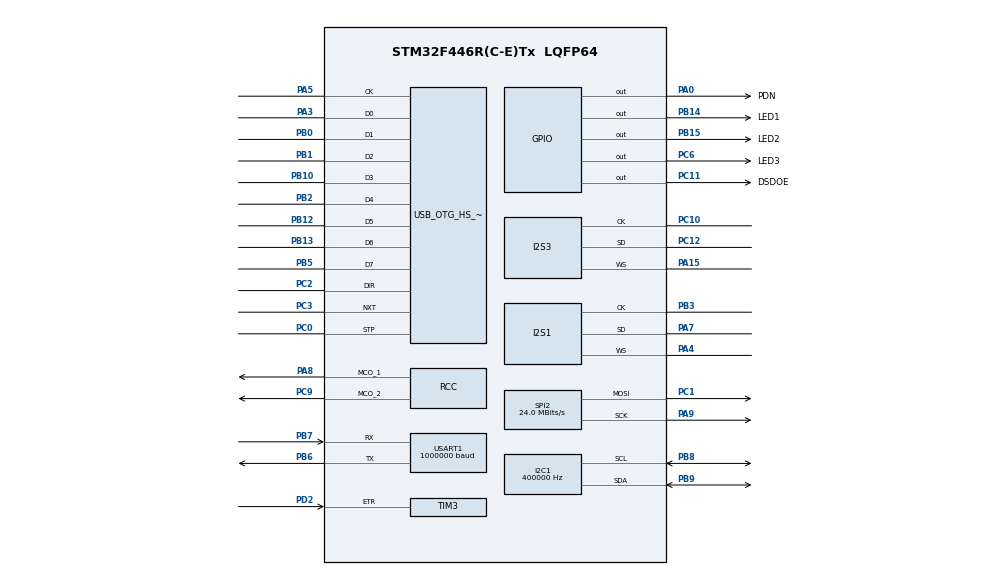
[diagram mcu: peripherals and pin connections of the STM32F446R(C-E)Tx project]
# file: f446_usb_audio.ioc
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Dma.MEMTOMEM.2.Direction=DMA_MEMORY_TO_MEMORY
Dma.MEMTOMEM.2.FIFOMode=DMA_FIFOMODE_ENABLE
Dma.MEMTOMEM.2.FIFOThreshold=DMA_FIFO_THRESHOLD_FULL
Dma.MEMTOMEM.2.Instance=DMA2_Stream0
Dma.MEMTOMEM.2.MemBurst=DMA_MBURST_SINGLE
Dma.MEMTOMEM.2.MemDataAlignment=DMA_MDATAALIGN_WORD
Dma.MEMTOMEM.2.MemInc=DMA_MINC_ENABLE
Dma.MEMTOMEM.2.Mode=DMA_NORMAL
Dma.MEMTOMEM.2.PeriphBurst=DMA_PBURST_SINGLE
Dma.MEMTOMEM.2.PeriphDataAlignment=DMA_PDATAALIGN_WORD
Dma.MEMTOMEM.2.PeriphInc=DMA_PINC_ENABLE
Dma.MEMTOMEM.2.Priority=DMA_PRIORITY_LOW
Dma.MEMTOMEM.3.Direction=DMA_MEMORY_TO_MEMORY
Dma.MEMTOMEM.3.FIFOMode=DMA_FIFOMODE_ENABLE
Dma.MEMTOMEM.3.FIFOThreshold=DMA_FIFO_THRESHOLD_FULL
Dma.MEMTOMEM.3.Instance=DMA2_Stream1
Dma.MEMTOMEM.3.MemBurst=DMA_MBURST_SINGLE
Dma.MEMTOMEM.3.MemDataAlignment=DMA_MDATAALIGN_WORD
Dma.MEMTOMEM.3.MemInc=DMA_MINC_ENABLE
Dma.MEMTOMEM.3.Mode=DMA_NORMAL
Dma.MEMTOMEM.3.PeriphBurst=DMA_PBURST_SINGLE
Dma.MEMTOMEM.3.PeriphDataAlignment=DMA_PDATAALIGN_WORD
Dma.MEMTOMEM.3.PeriphInc=DMA_PINC_DISABLE
Dma.MEMTOMEM.3.Priority=DMA_PRIORITY_LOW
Dma.Request0=SPI3_TX
Dma.Request1=SPI1_TX
Dma.Request2=MEMTOMEM
Dma.Request3=MEMTOMEM
Dma.SPI1_TX.1.Direction=DMA_MEMORY_TO_PERIPH
Dma.SPI1_TX.1.FIFOMode=DMA_FIFOMODE_ENABLE
Dma.SPI1_TX.1.FIFOThreshold=DMA_FIFO_THRESHOLD_FULL
Dma.SPI1_TX.1.Instance=DMA2_Stream3
Dma.SPI1_TX.1.MemBurst=DMA_MBURST_INC4
Dma.SPI1_TX.1.MemDataAlignment=DMA_MDATAALIGN_WORD
Dma.SPI1_TX.1.MemInc=DMA_MINC_ENABLE
Dma.SPI1_TX.1.Mode=DMA_CIRCULAR
Dma.SPI1_TX.1.PeriphBurst=DMA_PBURST_SINGLE
Dma.SPI1_TX.1.PeriphDataAlignment=DMA_PDATAALIGN_HALFWORD
Dma.SPI1_TX.1.PeriphInc=DMA_PINC_DISABLE
Dma.SPI1_TX.1.Priority=DMA_PRIORITY_LOW
Dma.SPI3_TX.0.Direction=DMA_MEMORY_TO_PERIPH
Dma.SPI3_TX.0.FIFOMode=DMA_FIFOMODE_ENABLE
Dma.SPI3_TX.0.FIFOThreshold=DMA_FIFO_THRESHOLD_FULL
Dma.SPI3_TX.0.Instance=DMA1_Stream5
Dma.SPI3_TX.0.MemBurst=DMA_MBURST_INC4
Dma.SPI3_TX.0.MemDataAlignment=DMA_MDATAALIGN_WORD
Dma.SPI3_TX.0.MemInc=DMA_MINC_ENABLE
Dma.SPI3_TX.0.Mode=DMA_CIRCULAR
Dma.SPI3_TX.0.PeriphBurst=DMA_PBURST_SINGLE
Dma.SPI3_TX.0.PeriphDataAlignment=DMA_PDATAALIGN_HALFWORD
Dma.SPI3_TX.0.PeriphInc=DMA_PINC_DISABLE
Dma.SPI3_TX.0.Priority=DMA_PRIORITY_HIGH
FREERTOS.Tasks01=defaultTask,24,128,StartDefaultTask,Default,NULL,Dynamic,NULL,NULL
I2C1.ClockSpeed=400000
I2C1.I2C_Mode=I2C_Fast
I2S1.AudioFreq=I2S_AUDIOFREQ_48K
I2S1.DataFormat=I2S_DATAFORMAT_32B
I2S1.ErrorAudioFreq=0.0 %
I2S1.FullDuplexMode=I2S_FULLDUPLEXMODE_DISABLE
I2S1.Instance=SPI$Index
I2S1.RealAudioFreq=48.0 KHz
I2S1.VirtualMode=I2S_MODE_SLAVE
I2S3.AudioFreq=I2S_AUDIOFREQ_48K
I2S3.CPOL=I2S_CPOL_LOW
I2S3.DataFormat=I2S_DATAFORMAT_32B
I2S3.ErrorAudioFreq=0.0 %
I2S3.FullDuplexMode=I2S_FULLDUPLEXMODE_DISABLE
I2S3.Instance=SPI$Index
I2S3.RealAudioFreq=48.0 KHz
I2S3.Standard=I2S_STANDARD_PHILIPS
I2S3.VirtualMode=I2S_MODE_MASTER
Mcu.Family=STM32F4
Mcu.Name=STM32F446R(C-E)Tx
Mcu.Package=LQFP64
NVIC.DMA1_Stream5_IRQn=true\:6\:0\:true\:false\:true\:true\:false\:true\:true
NVIC.DMA2_Stream0_IRQn=true\:6\:0\:true\:false\:true\:true\:true\:true\:true
NVIC.DMA2_Stream3_IRQn=true\:6\:0\:true\:false\:true\:true\:false\:true\:true
NVIC.I2C1_EV_IRQn=true\:6\:0\:true\:false\:true\:true\:true\:true\:true
NVIC.OTG_HS_IRQn=true\:6\:0\:true\:false\:true\:true\:true\:true\:true
NVIC.PVD_IRQn=true\:0\:0\:true\:false\:true\:false\:true\:false\:true
NVIC.PriorityGroup=NVIC_PRIORITYGROUP_4
NVIC.TIM3_IRQn=true\:6\:0\:true\:false\:true\:true\:true\:true\:true
NVIC.TIM7_IRQn=true\:0\:0\:true\:false\:true\:false\:false\:true\:true
NVIC.TimeBase=TIM7_IRQn
NVIC.TimeBaseIP=TIM7
PA0-WKUP.GPIO_Label=PDN
PA0-WKUP.GPIO_PuPd=GPIO_PULLDOWN
PA0-WKUP.GPIO_Speed=GPIO_SPEED_FREQ_HIGH
PA0-WKUP.PinState=GPIO_PIN_RESET
PA0-WKUP.Signal=GPIO_Output
PA13.Mode=Serial_Wire
PA13.Signal=SYS_JTMS-SWDIO
PA14.Mode=Serial_Wire
PA14.Signal=SYS_JTCK-SWCLK
PA15.GPIO_PuPd=GPIO_PULLDOWN
PA15.GPIO_Speed=GPIO_SPEED_FREQ_VERY_HIGH
PA15.Mode=Half_Duplex_Master
PA15.Signal=I2S3_WS
PA3.Mode=Device_HS
PA3.Signal=USB_OTG_HS_ULPI_D0
PA4.GPIO_PuPd=GPIO_PULLDOWN
PA4.GPIO_Speed=GPIO_SPEED_FREQ_VERY_HIGH
PA4.Mode=Half_Duplex_Slave
PA4.Signal=I2S1_WS
PA5.Mode=Device_HS
PA5.Signal=USB_OTG_HS_ULPI_CK
PA7.GPIO_PuPd=GPIO_PULLDOWN
PA7.GPIO_Speed=GPIO_SPEED_FREQ_VERY_HIGH
PA7.Mode=Half_Duplex_Slave
PA7.Signal=I2S1_SD
PA8.GPIO_Speed=GPIO_SPEED_FREQ_VERY_HIGH
PA8.Mode=Clock-out-1
PA8.Signal=RCC_MCO_1
PA9.Mode=TX_Only_Simplex_Unidirect_Master
PA9.Signal=SPI2_SCK
PB0.Mode=Device_HS
PB0.Signal=USB_OTG_HS_ULPI_D1
PB1.Mode=Device_HS
PB1.Signal=USB_OTG_HS_ULPI_D2
PB10.Mode=Device_HS
PB10.Signal=USB_OTG_HS_ULPI_D3
PB12.Mode=Device_HS
PB12.Signal=USB_OTG_HS_ULPI_D5
PB13.Mode=Device_HS
PB13.Signal=USB_OTG_HS_ULPI_D6
PB14.GPIO_Label=LED1
PB14.PinState=GPIO_PIN_SET
PB14.Signal=GPIO_Output
PB15.GPIO_Label=LED2
PB15.PinState=GPIO_PIN_SET
PB15.Signal=GPIO_Output
PB2.Mode=Device_HS
PB2.Signal=USB_OTG_HS_ULPI_D4
PB3.GPIO_PuPd=GPIO_PULLDOWN
PB3.GPIO_Speed=GPIO_SPEED_FREQ_VERY_HIGH
PB3.Mode=Half_Duplex_Slave
PB3.Signal=I2S1_CK
PB5.Mode=Device_HS
PB5.Signal=USB_OTG_HS_ULPI_D7
PB6.Mode=Asynchronous
PB6.Signal=USART1_TX
PB7.Mode=Asynchronous
PB7.Signal=USART1_RX
PB8.Mode=I2C
PB8.Signal=I2C1_SCL
PB9.Mode=I2C
PB9.Signal=I2C1_SDA
PC0.Mode=Device_HS
PC0.Signal=USB_OTG_HS_ULPI_STP
PC1.Mode=TX_Only_Simplex_Unidirect_Master
PC1.Signal=SPI2_MOSI
PC10.GPIO_PuPd=GPIO_PULLDOWN
PC10.GPIO_Speed=GPIO_SPEED_FREQ_VERY_HIGH
PC10.Mode=Half_Duplex_Master
PC10.Signal=I2S3_CK
PC11.GPIO_Label=DSDOE
PC11.GPIO_PuPd=GPIO_NOPULL
PC11.PinState=GPIO_PIN_RESET
PC11.Signal=GPIO_Output
PC12.GPIO_PuPd=GPIO_PULLDOWN
PC12.GPIO_Speed=GPIO_SPEED_FREQ_VERY_HIGH
PC12.Mode=Half_Duplex_Master
PC12.Signal=I2S3_SD
PC2.Mode=Device_HS
PC2.Signal=USB_OTG_HS_ULPI_DIR
PC3.Mode=Device_HS
PC3.Signal=USB_OTG_HS_ULPI_NXT
PC6.GPIO_Label=LED3
PC6.PinState=GPIO_PIN_SET
PC6.Signal=GPIO_Output
PC9.GPIO_Speed=GPIO_SPEED_FREQ_VERY_HIGH
PC9.Mode=Clock-out-2
PC9.Signal=RCC_MCO_2
PD2.Signal=S_TIM3_ETR
PH0-OSC_IN.Mode=HSE-External-Clock-Source
PH0-OSC_IN.Signal=RCC_OSC_IN
PH1-OSC_OUT.Mode=HSE-External-Clock-Source
PH1-OSC_OUT.Signal=RCC_OSC_OUT
ProjectManager.HeapSize=0x400
ProjectManager.StackSize=0x800
ProjectManager.TargetToolchain=MDK-ARM V5.32
RCC.AHBFreq_Value=192000000
RCC.APB1CLKDivider=RCC_HCLK_DIV4
RCC.APB1Freq_Value=48000000
RCC.APB1TimFreq_Value=96000000
RCC.APB2CLKDivider=RCC_HCLK_DIV2
RCC.APB2Freq_Value=96000000
RCC.APB2TimFreq_Value=192000000
RCC.CortexFreq_Value=192000000
RCC.EXTERNAL_CLOCK_VALUE=49152000
RCC.HCLKFreq_Value=192000000
RCC.HSE_Timout=100
RCC.HSE_VALUE=24576000
RCC.PLLI2SN=128
RCC.PLLN=250
RCC.PLLP=RCC_PLLP_DIV4
RCC.PLLSAIM=24
RCC.PLLSourceVirtual=RCC_PLLSOURCE_HSE
RCC.PWREXT_OverDrive=PWREXT_OverDrive_ACTIVATED
RCC.PWR_Regulator_Voltage_Scale=PWR_REGULATOR_VOLTAGE_SCALE1
RCC.RCC_MCO1Source=RCC_MCO1SOURCE_PLLCLK
RCC.RCC_MCO2Source=RCC_MCO2SOURCE_PLLI2SCLK
RCC.RCC_MCODiv1=RCC_MCODIV_4
RCC.RCC_MCODiv2=RCC_MCODIV_4
RCC.SYSCLKFreq_VALUE=192000000
RCC.SYSCLKSource=RCC_SYSCLKSOURCE_PLLRCLK
RCC.USBFreq_Value=192000000
RCC.VCOOutputFreq_Value=384000000
SH.S_TIM3_ETR.0=TIM3_ETR,TriggerSource_ETR
SPI2.BaudRatePrescaler=SPI_BAUDRATEPRESCALER_2
SPI2.CalculateBaudRate=24.0 MBits/s
SPI2.Direction=SPI_DIRECTION_2LINES
SPI2.Mode=SPI_MODE_MASTER
SPI2.VirtualType=VM_MASTER
TIM3.Period=511
USART1.BaudRate=1000000
USART1.VirtualMode=VM_ASYNC
USB_OTG_HS.Sof_enable-Device_HS=DISABLE
USB_OTG_HS.VirtualMode-Device_HS=Device_HS
USB_OTG_HS.dma_enable-Device_HS=ENABLE
USB_OTG_HS.lpm_enable-Device_HS=DISABLE
USB_OTG_HS.use_dedicated_ep1-Device_HS=DISABLE
VP_FREERTOS_VS_CMSIS_V2.Mode=CMSIS_V2
VP_SYS_VS_tim7.Mode=TIM7
VP_TIM3_VS_ControllerModeClock.Mode=Clock Mode
board=custom

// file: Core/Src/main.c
/* USER CODE BEGIN Header */
/**
  ******************************************************************************
  * @file           : main.c
  * @brief          : Main program body
  ******************************************************************************
  * @attention
  *
  * Copyright (c) 2023 STMicroelectronics.
  * All rights reserved.
  *
  * This software is licensed under terms that can be found in the LICENSE file
  * in the root directory of this software component.
  * If no LICENSE file comes with this software, it is provided AS-IS.
  *
  ******************************************************************************
  */
/* USER CODE END Header */
#include "main.h"
#include "cmsis_os.h"

/* USER CODE BEGIN Includes */
#include "usb_device.h"
#include "usbd_audio_if.h"
#include "ak4490r.h"
#include "stdarg.h"
#include "audio_buffer.h"
/* USER CODE END Includes */

/* USER CODE BEGIN PM */
#define AT24C02_ADDR    0xA0
/* USER CODE END PM */

I2C_HandleTypeDef hi2c1;

I2S_HandleTypeDef hi2s1;
I2S_HandleTypeDef hi2s3;
DMA_HandleTypeDef hdma_spi1_tx;
DMA_HandleTypeDef hdma_spi3_tx;

SPI_HandleTypeDef hspi2;

UART_HandleTypeDef huart1;

PCD_HandleTypeDef hpcd_USB_OTG_HS;

DMA_HandleTypeDef hdma_memtomem_dma2_stream0;
DMA_HandleTypeDef hdma_memtomem_dma2_stream1;
/* Definitions for defaultTask */
osThreadId_t defaultTaskHandle;
const osThreadAttr_t defaultTask_attributes = {
  .name = "defaultTask",
  .stack_size = 128 * 4,
  .priority = (osPriority_t) osPriorityNormal,
};

void SystemClock_Config(void);
void PeriphCommonClock_Config(void);
static void MX_GPIO_Init(void);
static void MX_DMA_Init(void);
static void MX_I2C1_Init(void);
static void MX_I2S1_Init(void);
static void MX_I2S3_Init(void);
static void MX_TIM3_Init(void);
static void MX_USB_OTG_HS_PCD_Init(void);
static void MX_SPI2_Init(void);
static void MX_USART1_UART_Init(void);
void StartDefaultTask(void *argument);

/* USER CODE BEGIN 0 */

extern AUDIO_CodecTypeDef ak4490r_instance;

void printf1(const char* format, ...) {
    uint8_t txbuff[128];
    va_list listdata;
    va_start(listdata, format);
    vsprintf((char*)txbuff, format, listdata);
    va_end(listdata);
    HAL_UART_Transmit(&huart1, txbuff, strlen((char*)txbuff), strlen((char*)txbuff));
}

void PVD_Init(void)
{
    PWR_PVDTypeDef PvdStruct;

    HAL_PWR_EnablePVD();

    PvdStruct.PVDLevel = PWR_PVDLEVEL_6;
    PvdStruct.Mode = PWR_PVD_MODE_IT_RISING;
    HAL_PWR_ConfigPVD(&PvdStruct);

    HAL_NVIC_SetPriority(PVD_IRQn, 0, 0);
    HAL_NVIC_EnableIRQ(PVD_IRQn);
}

/* USER CODE END 0 */

int main(void)
{

  /* MCU Configuration--------------------------------------------------------*/

  /* Reset of all peripherals, Initializes the Flash interface and the Systick. */
  HAL_Init();

  /* Configure the system clock */
  SystemClock_Config();

/* Configure the peripherals common clocks */
  PeriphCommonClock_Config();

  /* Initialize all configured peripherals */
  MX_GPIO_Init();
  MX_DMA_Init();
  MX_I2C1_Init();
  MX_I2S1_Init();
  MX_I2S3_Init();
  MX_TIM3_Init();
  MX_USB_OTG_HS_PCD_Init();
  MX_SPI2_Init();
  MX_USART1_UART_Init();
  /* USER CODE BEGIN 2 */
          // for (int i = 0; i < 256; i++) {
          //     u8 data = i;
          //     HAL_I2C_Mem_Write(&hi2c1, AT24C02_ADDR + 1, data, I2C_MEMADD_SIZE_8BIT, &data, sizeof(u8), 1000);
          //     HAL_Delay(2);
          // }

          // for (int i = 0; i < 256; i++) {
          //     static u8 data;
          //     HAL_I2C_Mem_Read(&hi2c1, AT24C02_ADDR, i, I2C_MEMADD_SIZE_8BIT, &data, sizeof(u8), 1000);
          //     printf1("addr=%#x, data=%#x\r\n", i, data);
          //     HAL_Delay(2);
          // }
    PVD_Init();
    ak4490r_instance.Init();

    LL_GPIO_ResetOutputPin(PDN_GPIO_Port, PDN_Pin);
    HAL_Delay(50);
    LL_GPIO_SetOutputPin(PDN_GPIO_Port, PDN_Pin);
    HAL_Delay(50);

    LL_GPIO_ResetOutputPin(LED1_GPIO_Port, LED1_Pin);

    // For LRCK counting for feedback
    LL_TIM_EnableIT_UPDATE(TIM3);
    LL_TIM_EnableCounter(TIM3);

  /* USER CODE END 2 */

  /* Init scheduler */
  osKernelInitialize();

  /* Create the thread(s) */
  /* creation of defaultTask */
  defaultTaskHandle = osThreadNew(StartDefaultTask, NULL, &defaultTask_attributes);

  /* Start scheduler */
  osKernelStart();

  /* We should never get here as control is now taken by the scheduler */
  /* Infinite loop */
  /* USER CODE BEGIN WHILE */
    while (1)
    {
//        AK4490R_ProcessEvents();

    /* USER CODE END WHILE */

    }
}

void SystemClock_Config(void)
{
  LL_FLASH_SetLatency(LL_FLASH_LATENCY_5);
  while(LL_FLASH_GetLatency()!= LL_FLASH_LATENCY_5)
  {
  }
  LL_PWR_SetRegulVoltageScaling(LL_PWR_REGU_VOLTAGE_SCALE1);
  LL_PWR_EnableOverDriveMode();
  LL_RCC_HSE_EnableBypass();
  LL_RCC_HSE_Enable();

   /* Wait till HSE is ready */
  while(LL_RCC_HSE_IsReady() != 1)
  {

  }
  LL_RCC_PLL_ConfigDomain_SYS(LL_RCC_PLLSOURCE_HSE, LL_RCC_PLLM_DIV_16, 250, LL_RCC_PLLP_DIV_4);
  LL_RCC_PLL_ConfigDomain_SYS(LL_RCC_PLLSOURCE_HSE, LL_RCC_PLLM_DIV_16, 250, LL_RCC_PLLR_DIV_2);
  LL_RCC_PLL_Enable();

   /* Wait till PLL is ready */
  while(LL_RCC_PLL_IsReady() != 1)
  {

  }
  while (LL_PWR_IsActiveFlag_VOS() == 0)
  {
  }
  LL_RCC_SetAHBPrescaler(LL_RCC_SYSCLK_DIV_1);
  LL_RCC_SetAPB1Prescaler(LL_RCC_APB1_DIV_4);
  LL_RCC_SetAPB2Prescaler(LL_RCC_APB2_DIV_2);
  LL_RCC_SetSysClkSource(LL_RCC_SYS_CLKSOURCE_PLLR);

   /* Wait till System clock is ready */
  while(LL_RCC_GetSysClkSource() != LL_RCC_SYS_CLKSOURCE_STATUS_PLLR)
  {

  }
  LL_SetSystemCoreClock(192000000);

   /* Update the time base */
  if (HAL_InitTick (TICK_INT_PRIORITY) != HAL_OK)
  {
    Error_Handler();
  }
  LL_RCC_ConfigMCO(LL_RCC_MCO1SOURCE_PLLCLK, LL_RCC_MCO1_DIV_4);
  LL_RCC_ConfigMCO(LL_RCC_MCO2SOURCE_PLLI2S, LL_RCC_MCO2_DIV_4);
  LL_RCC_SetTIMPrescaler(LL_RCC_TIM_PRESCALER_TWICE);
}

void PeriphCommonClock_Config(void)
{
  LL_RCC_PLLI2S_ConfigDomain_I2S(LL_RCC_PLLSOURCE_HSE, LL_RCC_PLLI2SM_DIV_16, 128, LL_RCC_PLLI2SR_DIV_2);
  LL_RCC_PLLI2S_Enable();

   /* Wait till PLL is ready */
  while(LL_RCC_PLLI2S_IsReady() != 1)
  {

  }
}

static void MX_I2C1_Init(void)
{

  hi2c1.Instance = I2C1;
  hi2c1.Init.ClockSpeed = 400000;
  hi2c1.Init.DutyCycle = I2C_DUTYCYCLE_2;
  hi2c1.Init.OwnAddress1 = 0;
  hi2c1.Init.AddressingMode = I2C_ADDRESSINGMODE_7BIT;
  hi2c1.Init.DualAddressMode = I2C_DUALADDRESS_DISABLE;
  hi2c1.Init.OwnAddress2 = 0;
  hi2c1.Init.GeneralCallMode = I2C_GENERALCALL_DISABLE;
  hi2c1.Init.NoStretchMode = I2C_NOSTRETCH_DISABLE;
  if (HAL_I2C_Init(&hi2c1) != HAL_OK)
  {
    Error_Handler();
  }

}

static void MX_I2S1_Init(void)
{

  hi2s1.Instance = SPI1;
  hi2s1.Init.Mode = I2S_MODE_SLAVE_TX;
  hi2s1.Init.Standard = I2S_STANDARD_PHILIPS;
  hi2s1.Init.DataFormat = I2S_DATAFORMAT_32B;
  hi2s1.Init.MCLKOutput = I2S_MCLKOUTPUT_DISABLE;
  hi2s1.Init.AudioFreq = I2S_AUDIOFREQ_48K;
  hi2s1.Init.CPOL = I2S_CPOL_LOW;
  hi2s1.Init.ClockSource = I2S_CLOCK_PLL;
  hi2s1.Init.FullDuplexMode = I2S_FULLDUPLEXMODE_DISABLE;
  if (HAL_I2S_Init(&hi2s1) != HAL_OK)
  {
    Error_Handler();
  }

}

static void MX_I2S3_Init(void)
{

  hi2s3.Instance = SPI3;
  hi2s3.Init.Mode = I2S_MODE_MASTER_TX;
  hi2s3.Init.Standard = I2S_STANDARD_PHILIPS;
  hi2s3.Init.DataFormat = I2S_DATAFORMAT_32B;
  hi2s3.Init.MCLKOutput = I2S_MCLKOUTPUT_DISABLE;
  hi2s3.Init.AudioFreq = I2S_AUDIOFREQ_48K;
  hi2s3.Init.CPOL = I2S_CPOL_LOW;
  hi2s3.Init.ClockSource = I2S_CLOCK_PLL;
  hi2s3.Init.FullDuplexMode = I2S_FULLDUPLEXMODE_DISABLE;
  if (HAL_I2S_Init(&hi2s3) != HAL_OK)
  {
    Error_Handler();
  }

}

static void MX_SPI2_Init(void)
{

  /* SPI2 parameter configuration*/
  hspi2.Instance = SPI2;
  hspi2.Init.Mode = SPI_MODE_MASTER;
  hspi2.Init.Direction = SPI_DIRECTION_2LINES;
  hspi2.Init.DataSize = SPI_DATASIZE_8BIT;
  hspi2.Init.CLKPolarity = SPI_POLARITY_LOW;
  hspi2.Init.CLKPhase = SPI_PHASE_1EDGE;
  hspi2.Init.NSS = SPI_NSS_SOFT;
  hspi2.Init.BaudRatePrescaler = SPI_BAUDRATEPRESCALER_2;
  hspi2.Init.FirstBit = SPI_FIRSTBIT_MSB;
  hspi2.Init.TIMode = SPI_TIMODE_DISABLE;
  hspi2.Init.CRCCalculation = SPI_CRCCALCULATION_DISABLE;
  hspi2.Init.CRCPolynomial = 10;
  if (HAL_SPI_Init(&hspi2) != HAL_OK)
  {
    Error_Handler();
  }

}

static void MX_TIM3_Init(void)
{

  LL_TIM_InitTypeDef TIM_InitStruct = {0};

  LL_GPIO_InitTypeDef GPIO_InitStruct = {0};

  /* Peripheral clock enable */
  LL_APB1_GRP1_EnableClock(LL_APB1_GRP1_PERIPH_TIM3);

  LL_AHB1_GRP1_EnableClock(LL_AHB1_GRP1_PERIPH_GPIOD);
  /**TIM3 GPIO Configuration
  PD2   ------> TIM3_ETR
  */
  GPIO_InitStruct.Pin = LL_GPIO_PIN_2;
  GPIO_InitStruct.Mode = LL_GPIO_MODE_ALTERNATE;
  GPIO_InitStruct.Speed = LL_GPIO_SPEED_FREQ_LOW;
  GPIO_InitStruct.OutputType = LL_GPIO_OUTPUT_PUSHPULL;
  GPIO_InitStruct.Pull = LL_GPIO_PULL_NO;
  GPIO_InitStruct.Alternate = LL_GPIO_AF_2;
  LL_GPIO_Init(GPIOD, &GPIO_InitStruct);

  /* TIM3 interrupt Init */
  NVIC_SetPriority(TIM3_IRQn, NVIC_EncodePriority(NVIC_GetPriorityGrouping(),6, 0));
  NVIC_EnableIRQ(TIM3_IRQn);

  TIM_InitStruct.Prescaler = 0;
  TIM_InitStruct.CounterMode = LL_TIM_COUNTERMODE_UP;
  TIM_InitStruct.Autoreload = 511;
  TIM_InitStruct.ClockDivision = LL_TIM_CLOCKDIVISION_DIV1;
  LL_TIM_Init(TIM3, &TIM_InitStruct);
  LL_TIM_DisableARRPreload(TIM3);
  LL_TIM_SetTriggerInput(TIM3, LL_TIM_TS_ETRF);
  LL_TIM_SetClockSource(TIM3, LL_TIM_CLOCKSOURCE_EXT_MODE1);
  LL_TIM_DisableExternalClock(TIM3);
  LL_TIM_ConfigETR(TIM3, LL_TIM_ETR_POLARITY_NONINVERTED, LL_TIM_ETR_PRESCALER_DIV1, LL_TIM_ETR_FILTER_FDIV1);
  LL_TIM_DisableIT_TRIG(TIM3);
  LL_TIM_DisableDMAReq_TRIG(TIM3);
  LL_TIM_SetTriggerOutput(TIM3, LL_TIM_TRGO_RESET);
  LL_TIM_DisableMasterSlaveMode(TIM3);

}

static void MX_USART1_UART_Init(void)
{

  huart1.Instance = USART1;
  huart1.Init.BaudRate = 1000000;
  huart1.Init.WordLength = UART_WORDLENGTH_8B;
  huart1.Init.StopBits = UART_STOPBITS_1;
  huart1.Init.Parity = UART_PARITY_NONE;
  huart1.Init.Mode = UART_MODE_TX_RX;
  huart1.Init.HwFlowCtl = UART_HWCONTROL_NONE;
  huart1.Init.OverSampling = UART_OVERSAMPLING_16;
  if (HAL_UART_Init(&huart1) != HAL_OK)
  {
    Error_Handler();
  }

}

static void MX_USB_OTG_HS_PCD_Init(void)
{

  hpcd_USB_OTG_HS.Instance = USB_OTG_HS;
  hpcd_USB_OTG_HS.Init.dev_endpoints = 8;
  hpcd_USB_OTG_HS.Init.speed = PCD_SPEED_HIGH;
  hpcd_USB_OTG_HS.Init.dma_enable = ENABLE;
  hpcd_USB_OTG_HS.Init.phy_itface = USB_OTG_ULPI_PHY;
  hpcd_USB_OTG_HS.Init.Sof_enable = DISABLE;
  hpcd_USB_OTG_HS.Init.low_power_enable = DISABLE;
  hpcd_USB_OTG_HS.Init.lpm_enable = DISABLE;
  hpcd_USB_OTG_HS.Init.vbus_sensing_enable = DISABLE;
  hpcd_USB_OTG_HS.Init.use_dedicated_ep1 = DISABLE;
  hpcd_USB_OTG_HS.Init.use_external_vbus = DISABLE;
  if (HAL_PCD_Init(&hpcd_USB_OTG_HS) != HAL_OK)
  {
    Error_Handler();
  }
  /* USER CODE BEGIN USB_OTG_HS_Init 2 */
    HAL_PCDEx_SetRxFiFo(&hpcd_USB_OTG_HS, 0x200);
    HAL_PCDEx_SetTxFiFo(&hpcd_USB_OTG_HS, 0, 0x80);
    HAL_PCDEx_SetTxFiFo(&hpcd_USB_OTG_HS, 1, 0x174);
  /* USER CODE END USB_OTG_HS_Init 2 */

}

static void MX_DMA_Init(void)
{

  /* DMA controller clock enable */
  __HAL_RCC_DMA1_CLK_ENABLE();
  __HAL_RCC_DMA2_CLK_ENABLE();

  /* Configure DMA request hdma_memtomem_dma2_stream0 on DMA2_Stream0 */
  hdma_memtomem_dma2_stream0.Instance = DMA2_Stream0;
  hdma_memtomem_dma2_stream0.Init.Channel = DMA_CHANNEL_0;
  hdma_memtomem_dma2_stream0.Init.Direction = DMA_MEMORY_TO_MEMORY;
  hdma_memtomem_dma2_stream0.Init.PeriphInc = DMA_PINC_ENABLE;
  hdma_memtomem_dma2_stream0.Init.MemInc = DMA_MINC_ENABLE;
  hdma_memtomem_dma2_stream0.Init.PeriphDataAlignment = DMA_PDATAALIGN_WORD;
  hdma_memtomem_dma2_stream0.Init.MemDataAlignment = DMA_MDATAALIGN_WORD;
  hdma_memtomem_dma2_stream0.Init.Mode = DMA_NORMAL;
  hdma_memtomem_dma2_stream0.Init.Priority = DMA_PRIORITY_LOW;
  hdma_memtomem_dma2_stream0.Init.FIFOMode = DMA_FIFOMODE_ENABLE;
  hdma_memtomem_dma2_stream0.Init.FIFOThreshold = DMA_FIFO_THRESHOLD_FULL;
  hdma_memtomem_dma2_stream0.Init.MemBurst = DMA_MBURST_SINGLE;
  hdma_memtomem_dma2_stream0.Init.PeriphBurst = DMA_PBURST_SINGLE;
  if (HAL_DMA_Init(&hdma_memtomem_dma2_stream0) != HAL_OK)
  {
    Error_Handler( );
  }

  /* Configure DMA request hdma_memtomem_dma2_stream1 on DMA2_Stream1 */
  hdma_memtomem_dma2_stream1.Instance = DMA2_Stream1;
  hdma_memtomem_dma2_stream1.Init.Channel = DMA_CHANNEL_0;
  hdma_memtomem_dma2_stream1.Init.Direction = DMA_MEMORY_TO_MEMORY;
  hdma_memtomem_dma2_stream1.Init.PeriphInc = DMA_PINC_DISABLE;
  hdma_memtomem_dma2_stream1.Init.MemInc = DMA_MINC_ENABLE;
  hdma_memtomem_dma2_stream1.Init.PeriphDataAlignment = DMA_PDATAALIGN_WORD;
  hdma_memtomem_dma2_stream1.Init.MemDataAlignment = DMA_MDATAALIGN_WORD;
  hdma_memtomem_dma2_stream1.Init.Mode = DMA_NORMAL;
  hdma_memtomem_dma2_stream1.Init.Priority = DMA_PRIORITY_LOW;
  hdma_memtomem_dma2_stream1.Init.FIFOMode = DMA_FIFOMODE_ENABLE;
  hdma_memtomem_dma2_stream1.Init.FIFOThreshold = DMA_FIFO_THRESHOLD_FULL;
  hdma_memtomem_dma2_stream1.Init.MemBurst = DMA_MBURST_SINGLE;
  hdma_memtomem_dma2_stream1.Init.PeriphBurst = DMA_PBURST_SINGLE;
  if (HAL_DMA_Init(&hdma_memtomem_dma2_stream1) != HAL_OK)
  {
    Error_Handler( );
  }

  /* DMA interrupt init */
  /* DMA1_Stream5_IRQn interrupt configuration */
  HAL_NVIC_SetPriority(DMA1_Stream5_IRQn, 6, 0);
  HAL_NVIC_EnableIRQ(DMA1_Stream5_IRQn);
  /* DMA2_Stream0_IRQn interrupt configuration */
  HAL_NVIC_SetPriority(DMA2_Stream0_IRQn, 6, 0);
  HAL_NVIC_EnableIRQ(DMA2_Stream0_IRQn);
  /* DMA2_Stream3_IRQn interrupt configuration */
  HAL_NVIC_SetPriority(DMA2_Stream3_IRQn, 6, 0);
  HAL_NVIC_EnableIRQ(DMA2_Stream3_IRQn);

}

static void MX_GPIO_Init(void)
{
  LL_GPIO_InitTypeDef GPIO_InitStruct = {0};

  /* GPIO Ports Clock Enable */
  LL_AHB1_GRP1_EnableClock(LL_AHB1_GRP1_PERIPH_GPIOH);
  LL_AHB1_GRP1_EnableClock(LL_AHB1_GRP1_PERIPH_GPIOC);
  LL_AHB1_GRP1_EnableClock(LL_AHB1_GRP1_PERIPH_GPIOA);
  LL_AHB1_GRP1_EnableClock(LL_AHB1_GRP1_PERIPH_GPIOB);
  LL_AHB1_GRP1_EnableClock(LL_AHB1_GRP1_PERIPH_GPIOD);

  /**/
  LL_GPIO_ResetOutputPin(PDN_GPIO_Port, PDN_Pin);

  /**/
  LL_GPIO_ResetOutputPin(DSDOE_GPIO_Port, DSDOE_Pin);

  /**/
  LL_GPIO_SetOutputPin(GPIOB, LED1_Pin|LED2_Pin);

  /**/
  LL_GPIO_SetOutputPin(LED3_GPIO_Port, LED3_Pin);

  /**/
  GPIO_InitStruct.Pin = PDN_Pin;
  GPIO_InitStruct.Mode = LL_GPIO_MODE_OUTPUT;
  GPIO_InitStruct.Speed = LL_GPIO_SPEED_FREQ_HIGH;
  GPIO_InitStruct.OutputType = LL_GPIO_OUTPUT_PUSHPULL;
  GPIO_InitStruct.Pull = LL_GPIO_PULL_DOWN;
  LL_GPIO_Init(PDN_GPIO_Port, &GPIO_InitStruct);

  /**/
  GPIO_InitStruct.Pin = LED1_Pin|LED2_Pin;
  GPIO_InitStruct.Mode = LL_GPIO_MODE_OUTPUT;
  GPIO_InitStruct.Speed = LL_GPIO_SPEED_FREQ_LOW;
  GPIO_InitStruct.OutputType = LL_GPIO_OUTPUT_PUSHPULL;
  GPIO_InitStruct.Pull = LL_GPIO_PULL_NO;
  LL_GPIO_Init(GPIOB, &GPIO_InitStruct);

  /**/
  GPIO_InitStruct.Pin = LED3_Pin|DSDOE_Pin;
  GPIO_InitStruct.Mode = LL_GPIO_MODE_OUTPUT;
  GPIO_InitStruct.Speed = LL_GPIO_SPEED_FREQ_LOW;
  GPIO_InitStruct.OutputType = LL_GPIO_OUTPUT_PUSHPULL;
  GPIO_InitStruct.Pull = LL_GPIO_PULL_NO;
  LL_GPIO_Init(GPIOC, &GPIO_InitStruct);

  /**/
  GPIO_InitStruct.Pin = LL_GPIO_PIN_9;
  GPIO_InitStruct.Mode = LL_GPIO_MODE_ALTERNATE;
  GPIO_InitStruct.Speed = LL_GPIO_SPEED_FREQ_VERY_HIGH;
  GPIO_InitStruct.OutputType = LL_GPIO_OUTPUT_PUSHPULL;
  GPIO_InitStruct.Pull = LL_GPIO_PULL_NO;
  GPIO_InitStruct.Alternate = LL_GPIO_AF_0;
  LL_GPIO_Init(GPIOC, &GPIO_InitStruct);

  /**/
  GPIO_InitStruct.Pin = LL_GPIO_PIN_8;
  GPIO_InitStruct.Mode = LL_GPIO_MODE_ALTERNATE;
  GPIO_InitStruct.Speed = LL_GPIO_SPEED_FREQ_VERY_HIGH;
  GPIO_InitStruct.OutputType = LL_GPIO_OUTPUT_PUSHPULL;
  GPIO_InitStruct.Pull = LL_GPIO_PULL_NO;
  GPIO_InitStruct.Alternate = LL_GPIO_AF_0;
  LL_GPIO_Init(GPIOA, &GPIO_InitStruct);

}

void StartDefaultTask(void *argument)
{
  /* USER CODE BEGIN 5 */
    MX_USB_DEVICE_Init();
  /* Infinite loop */
  for(;;)
  {
      AK4490R_ProcessEvents();
    osDelay(1);
  }
  /* USER CODE END 5 */
}

void HAL_TIM_PeriodElapsedCallback(TIM_HandleTypeDef *htim)
{
  if (htim->Instance == TIM7) {
    HAL_IncTick();
  }
}

void Error_Handler(void)
{
  /* USER CODE BEGIN Error_Handler_Debug */
          /* User can add his own implementation to report the HAL error return state */
        //   __disable_irq();
        //   NVIC_SystemReset();
    while (1)
    {
    }
  /* USER CODE END Error_Handler_Debug */
}
